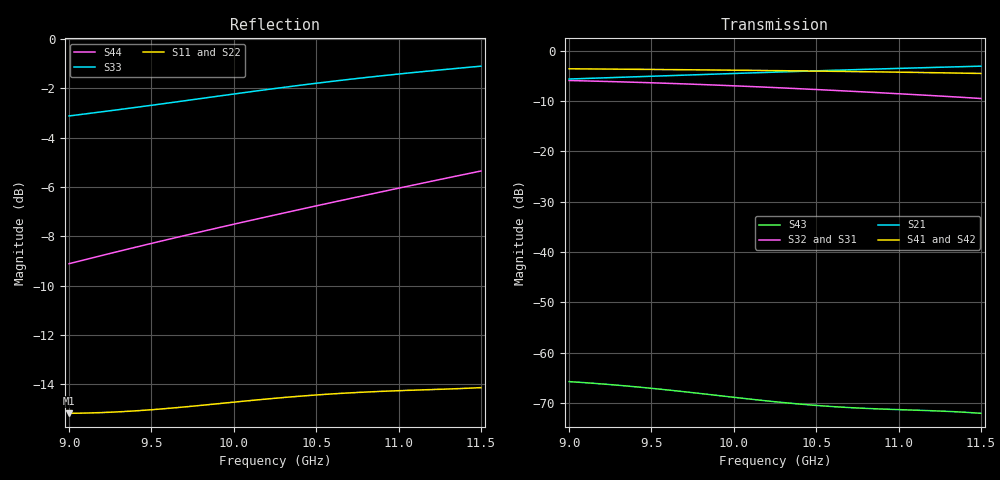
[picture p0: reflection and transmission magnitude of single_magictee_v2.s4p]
! Touchstone file exported from HFSS 2025.2.4
!  File:  C:/Users/chaoy/Documents/single_magictee_v2_stageA/g2_5p00mm_lt_6p00mm/single_magictee_v2.aedt
!  Generated:  02:58:31 PM Sep 19, 2026
!  Design:  SingleMagicT_v2
!  Project:  single_magictee_v2
! Variables:
!  f_adapt = 10.2GHz
!  ridge_g1 = 7.672mm
!  ridge_g2 = 5mm
!  ridge_l1 = 9.872mm
!  ridge_l2 = 8.857mm
!  ridge_w = 4.572mm
!  terminal_ridge_len = 6mm
!  wg_a = 22.86mm
!  wg_b = 10.16mm
!Data is not renormalized
# GHz S MA
! Terminal data exported
! Port[1] = P1_CollinearMinusX
! Port[2] = P2_CollinearPlusX
! Port[3] = P3_HArm_Ridged
! Port[4] = P4_EArm
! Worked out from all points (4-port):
!   101 points, 9 GHz to 11.5 GHz, reference per port
!   strongest paths, dB at 9 GHz, 9.625 GHz, 10.25 GHz, 10.88 GHz, 11.5 GHz:
!     S41: -3.6, -3.7, -3.9, -4.2, -4.5
!     S42: -3.6, -3.7, -3.9, -4.2, -4.5
!     S21: -5.6, -4.9, -4.2, -3.6, -3.1
!     S32: -5.9, -6.5, -7.3, -8.3, -9.5
!     S31: -5.9, -6.5, -7.3, -8.3, -9.5
!     S43: -65.8, -67.5, -69.8, -71.2, -72.1
!   lowest |S11| = -15.2 dB at 9 GHz (marker M1), VSWR 1.42
!   |S11| at or under -10 dB: start of sweep to end of sweep
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9  0.1742 -157.3  0.524 -159.4  0.5063 105.1  0.6623 45.2
   0.524 -159.4  0.1737 -157.4  0.5065 105.2  0.6623 -134.8
   0.5063 105.1  0.5065 105.2  0.6979 -170.9  0.0005134 89.0
   0.6623 45.2  0.6623 -134.8  0.0005134 89.0  0.3502 -109.2
9.35  0.1758 168.3  0.5478 160.7  0.4889 62.3  0.6557 5.2
      0.5478 160.7  0.1754 168.2  0.4891 62.4  0.6556 -174.8
      0.4889 62.3  0.4891 62.4  0.7223 142.3  0.0004645 40.0
      0.6557 5.2  0.6556 -174.8  0.0004645 40.0  0.3744 -146.9
9.75  0.1802 129.5  0.5764 116.6  0.4652 14.4  0.6472 -39.1
      0.5764 116.6  0.1799 129.4  0.4655 14.5  0.6471 140.9
      0.4652 14.4  0.4655 14.5  0.7529 89.3  0.0003988 -12.4
      0.6472 -39.1  0.6471 140.9  0.0003988 -12.4  0.4029 170.9
10.05  0.1843 100.3  0.5986 84.2  0.4449 -20.9  0.6402 -71.5
       0.5986 84.2  0.184 100.3  0.4451 -20.8  0.6401 108.5
       0.4449 -20.9  0.4451 -20.8  0.7771 50.3  0.0003512 -48.3
       0.6402 -71.5  0.6401 108.5  0.0003512 -48.3  0.4248 139.7
10.45  0.1893 61.4  0.6284 41.7  0.4156 -67.3  0.6298 -113.9
       0.6284 41.7  0.189 61.4  0.4158 -67.2  0.6297 66.1
       0.4156 -67.3  0.4158 -67.2  0.8089 -0.8  0.0003023 -91.7
       0.6298 -113.9  0.6297 66.1  0.0003023 -91.7  0.4548 98.6
11.025  0.1938 5.9  0.6701 -18.4  0.3722 -133.1  0.6123 -173.7
        0.6701 -18.4  0.1933 6.0  0.3723 -133.0  0.6124 6.4
        0.3722 -133.1  0.3723 -133.0  0.8502 -73.1  0.0002696 -150.0
        0.6123 -173.7  0.6124 6.4  0.0002696 -150.0  0.5002 40.2
11.5  0.1964 -38.6  0.7033 -67.2  0.3354 172.1  0.5952 137.5
      0.7033 -67.2  0.1957 -38.4  0.3354 172.2  0.5954 -42.4
      0.3354 172.1  0.3354 172.2  0.8803 -134.6  0.0002485 160.4
      0.5952 137.5  0.5954 -42.4  0.0002485 160.4  0.5397 -7.7
